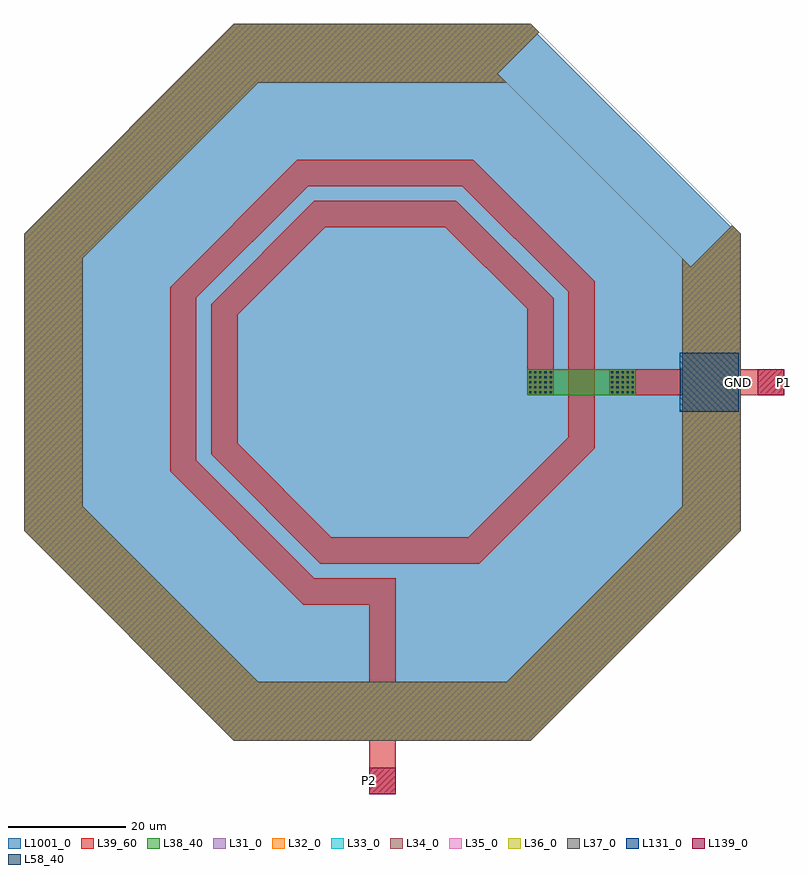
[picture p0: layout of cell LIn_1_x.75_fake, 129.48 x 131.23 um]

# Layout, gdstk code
import gdstk
lib = gdstk.Library(unit=1e-6, precision=1e-09)
def R(c, l, rs):  # rectangles x0, y0, x1, y1
    for r in rs: c.add(gdstk.rectangle(r[:2], r[2:], *l))
def A(c, l, x, y, w, h, nx, ny, dx, dy):  # array of equal rectangles
    R(c, l, [(x+i*dx, y+j*dy, x+i*dx+w, y+j*dy+h) for i in range(nx) for j in range(ny)])
def P(c, l, *ps):  # polygons
    for p in ps: c.add(gdstk.Polygon(p, *l))
L31_0 = (31, 0)
L32_0 = (32, 0)
L33_0 = (33, 0)
L34_0 = (34, 0)
L35_0 = (35, 0)
L36_0 = (36, 0)
L37_0 = (37, 0)
L38_40 = (38, 40)
L39_60 = (39, 60)
L58_40 = (58, 40)
L131_0 = (131, 0)
L139_0 = (139, 0)
L1001_0 = (1001, 0)

lin_1_x_75_fake = lib.new_cell('LIn_1_x.75_fake')
P(lin_1_x_75_fake, L31_0, [(52.522,19.684),(59.593,26.755),(25.291,61.057),(-25.291,61.057),(-61.057,25.291),(-61.057,-25.291),(-25.291,-61.057),(25.291,-61.057),(61.057,-25.291),(61.057,25.291),(26.755,59.593),(19.684,52.522),(51.057,21.149),(51.057,-21.149),(21.149,-51.057),(-21.149,-51.057),(-51.057,-21.149),(-51.057,21.149),(-21.149,51.057),(21.149,51.057)])
P(lin_1_x_75_fake, L32_0, [(52.522,19.684),(59.593,26.755),(25.291,61.057),(-25.291,61.057),(-61.057,25.291),(-61.057,-25.291),(-25.291,-61.057),(25.291,-61.057),(61.057,-25.291),(61.057,25.291),(26.755,59.593),(19.684,52.522),(51.057,21.149),(51.057,-21.149),(21.149,-51.057),(-21.149,-51.057),(-51.057,-21.149),(-51.057,21.149),(-21.149,51.057),(21.149,51.057)])
P(lin_1_x_75_fake, L33_0, [(52.522,19.684),(59.593,26.755),(25.291,61.057),(-25.291,61.057),(-61.057,25.291),(-61.057,-25.291),(-25.291,-61.057),(25.291,-61.057),(61.057,-25.291),(61.057,25.291),(26.755,59.593),(19.684,52.522),(51.057,21.149),(51.057,-21.149),(21.149,-51.057),(-21.149,-51.057),(-51.057,-21.149),(-51.057,21.149),(-21.149,51.057),(21.149,51.057)])
P(lin_1_x_75_fake, L34_0, [(52.522,19.684),(59.593,26.755),(25.291,61.057),(-25.291,61.057),(-61.057,25.291),(-61.057,-25.291),(-25.291,-61.057),(25.291,-61.057),(61.057,-25.291),(61.057,25.291),(26.755,59.593),(19.684,52.522),(51.057,21.149),(51.057,-21.149),(21.149,-51.057),(-21.149,-51.057),(-51.057,-21.149),(-51.057,21.149),(-21.149,51.057),(21.149,51.057)])
P(lin_1_x_75_fake, L35_0, [(52.522,19.684),(59.593,26.755),(25.291,61.057),(-25.291,61.057),(-61.057,25.291),(-61.057,-25.291),(-25.291,-61.057),(25.291,-61.057),(61.057,-25.291),(61.057,25.291),(26.755,59.593),(19.684,52.522),(51.057,21.149),(51.057,-21.149),(21.149,-51.057),(-21.149,-51.057),(-51.057,-21.149),(-51.057,21.149),(-21.149,51.057),(21.149,51.057)])
P(lin_1_x_75_fake, L36_0, [(52.522,19.684),(59.593,26.755),(25.291,61.057),(-25.291,61.057),(-61.057,25.291),(-61.057,-25.291),(-25.291,-61.057),(25.291,-61.057),(61.057,-25.291),(61.057,25.291),(26.755,59.593),(19.684,52.522),(51.057,21.149),(51.057,-21.149),(21.149,-51.057),(-21.149,-51.057),(-51.057,-21.149),(-51.057,21.149),(-21.149,51.057),(21.149,51.057)])
P(lin_1_x_75_fake, L37_0, [(52.522,19.684),(59.593,26.755),(25.291,61.057),(-25.291,61.057),(-61.057,25.291),(-61.057,-25.291),(-25.291,-61.057),(25.291,-61.057),(61.057,-25.291),(61.057,25.291),(26.755,59.593),(19.684,52.522),(51.057,21.149),(51.057,-21.149),(21.149,-51.057),(-21.149,-51.057),(-51.057,-21.149),(-51.057,21.149),(-21.149,51.057),(21.149,51.057)])
R(lin_1_x_75_fake, L38_40, [(24.675,-2.25,43.175,2.25)])
P(lin_1_x_75_fake, L38_40, [(52.522,19.684),(59.593,26.755),(25.291,61.057),(-25.291,61.057),(-61.057,25.291),(-61.057,-25.291),(-25.291,-61.057),(25.291,-61.057),(61.057,-25.291),(61.057,25.291),(26.755,59.593),(19.684,52.522),(51.057,21.149),(51.057,-21.149),(21.149,-51.057),(-21.149,-51.057),(-51.057,-21.149),(-51.057,21.149),(-21.149,51.057),(21.149,51.057)])
R(lin_1_x_75_fake, L39_60, [(-2.25,-70.175,2.25,-33.425), (38.675,-2.25,68.425,2.25)])
P(lin_1_x_75_fake, L39_60, [(24.675,-2.25),(29.175,-2.25),(29.175,14.347),(12.597,30.925),(-11.572,30.925),(-29.175,13.322),(-29.175,-12.297),(-10.547,-30.925),(16.522,-30.925),(36.175,-11.272),(36.175,17.247),(15.497,37.925),(-14.472,37.925),(-36.175,16.222),(-36.175,-15.197),(-13.447,-37.925),(0,-37.925),(0,-33.425),(-11.583,-33.425),(-31.675,-13.333),(-31.675,14.358),(-12.608,33.425),(13.633,33.425),(31.675,15.383),(31.675,-9.408),(14.658,-26.425),(-8.683,-26.425),(-24.675,-10.433),(-24.675,11.458),(-9.708,26.425),(10.733,26.425),(24.675,12.483)],
  [(52.522,19.684),(59.593,26.755),(25.291,61.057),(-25.291,61.057),(-61.057,25.291),(-61.057,-25.291),(-25.291,-61.057),(25.291,-61.057),(61.057,-25.291),(61.057,25.291),(26.755,59.593),(19.684,52.522),(51.057,21.149),(51.057,-21.149),(21.149,-51.057),(-21.149,-51.057),(-51.057,-21.149),(-51.057,21.149),(-21.149,51.057),(21.149,51.057)])
A(lin_1_x_75_fake, L58_40, 25.011, -1.915, 0.35, 0.35, 5, 5, 0.87, 0.87)
A(lin_1_x_75_fake, L58_40, 39.011, -1.915, 0.35, 0.35, 5, 5, 0.87, 0.87)
R(lin_1_x_75_fake, L131_0, [(50.675,-5,60.675,5)])
R(lin_1_x_75_fake, L139_0, [(-2.25,-70.175,2.25,-65.675), (63.925,-2.25,68.425,2.25)])
P(lin_1_x_75_fake, L1001_0, [(60.676,25.133),(25.133,60.676),(-25.133,60.676),(-60.676,25.133),(-60.676,-25.133),(-25.133,-60.676),(25.133,-60.676),(60.676,-25.133)],
  [(60.676,25.133),(25.133,60.676),(-25.133,60.676),(-60.676,25.133),(-60.676,-25.133),(-25.133,-60.676),(25.133,-60.676),(60.676,-25.133)],
  [(60.676,25.133),(25.133,60.676),(-25.133,60.676),(-60.676,25.133),(-60.676,-25.133),(-25.133,-60.676),(25.133,-60.676),(60.676,-25.133)],
  [(60.676,25.133),(25.133,60.676),(-25.133,60.676),(-60.676,25.133),(-60.676,-25.133),(-25.133,-60.676),(25.133,-60.676),(60.676,-25.133)],
  [(60.676,25.133),(25.133,60.676),(-25.133,60.676),(-60.676,25.133),(-60.676,-25.133),(-25.133,-60.676),(25.133,-60.676),(60.676,-25.133)],
  [(60.676,25.133),(25.133,60.676),(-25.133,60.676),(-60.676,25.133),(-60.676,-25.133),(-25.133,-60.676),(25.133,-60.676),(60.676,-25.133)],
  [(60.676,25.133),(25.133,60.676),(-25.133,60.676),(-60.676,25.133),(-60.676,-25.133),(-25.133,-60.676),(25.133,-60.676),(60.676,-25.133)],
  [(60.676,25.133),(25.133,60.676),(-25.133,60.676),(-60.676,25.133),(-60.676,-25.133),(-25.133,-60.676),(25.133,-60.676),(60.676,-25.133)],
  [(60.676,25.133),(25.133,60.676),(-25.133,60.676),(-60.676,25.133),(-60.676,-25.133),(-25.133,-60.676),(25.133,-60.676),(60.676,-25.133)])
lin_1_x_75_fake.add(gdstk.Label('P1', (68.426,0), layer=139, texttype=0))
lin_1_x_75_fake.add(gdstk.Label('P2', (-2.25,-67.926), layer=139, texttype=0))
lin_1_x_75_fake.add(gdstk.Label('GND', (60.676,0), layer=131, texttype=0))

lib.write_gds('LIn_1_x.75_fake.gds')
